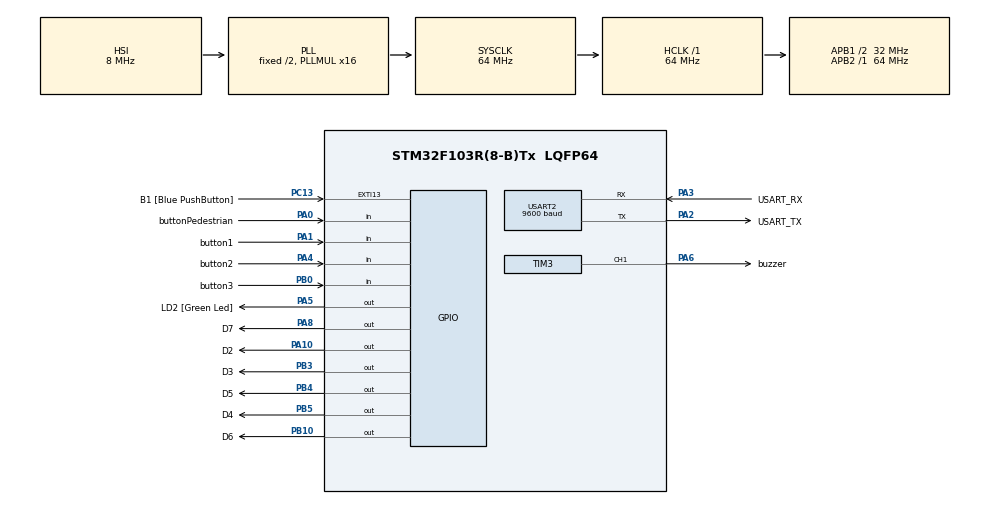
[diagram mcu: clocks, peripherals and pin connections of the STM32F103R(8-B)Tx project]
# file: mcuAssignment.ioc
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Mcu.Family=STM32F1
Mcu.Name=STM32F103R(8-B)Tx
Mcu.Package=LQFP64
NVIC.EXTI15_10_IRQn=true\:0\:0\:false\:false\:true\:true\:true
NVIC.PriorityGroup=NVIC_PRIORITYGROUP_4
NVIC.TIM2_IRQn=true\:0\:0\:false\:false\:true\:true\:true
NVIC.USART2_IRQn=true\:0\:0\:false\:false\:true\:true\:true
PA0-WKUP.GPIO_Label=buttonPedestrian
PA0-WKUP.Signal=GPIO_Input
PA1.GPIO_Label=button1
PA1.GPIO_PuPd=GPIO_PULLUP
PA1.Signal=GPIO_Input
PA10.GPIO_Label=D2
PA10.Signal=GPIO_Output
PA13.GPIO_Label=TMS
PA13.Mode=Serial_Wire
PA13.Signal=SYS_JTMS-SWDIO
PA14.GPIO_Label=TCK
PA14.Mode=Serial_Wire
PA14.Signal=SYS_JTCK-SWCLK
PA2.GPIO_Label=USART_TX
PA2.GPIO_Mode=GPIO_MODE_AF_PP
PA2.GPIO_PuPd=GPIO_NOPULL
PA2.GPIO_Speed=GPIO_SPEED_FREQ_LOW
PA2.Mode=Asynchronous
PA2.Signal=USART2_TX
PA3.GPIO_Label=USART_RX
PA3.GPIO_Mode=GPIO_MODE_AF_PP
PA3.GPIO_PuPd=GPIO_NOPULL
PA3.GPIO_Speed=GPIO_SPEED_FREQ_LOW
PA3.Mode=Asynchronous
PA3.Signal=USART2_RX
PA4.GPIO_Label=button2
PA4.GPIO_PuPd=GPIO_PULLUP
PA4.Signal=GPIO_Input
PA5.GPIO_Label=LD2 [Green Led]
PA5.GPIO_ModeDefaultOutputPP=GPIO_MODE_OUTPUT_PP
PA5.GPIO_PuPd=GPIO_NOPULL
PA5.GPIO_Speed=GPIO_SPEED_FREQ_LOW
PA5.Signal=GPIO_Output
PA6.GPIO_Label=buzzer
PA6.Signal=S_TIM3_CH1
PA8.GPIO_Label=D7
PA8.Signal=GPIO_Output
PB0.GPIO_Label=button3
PB0.GPIO_PuPd=GPIO_PULLUP
PB0.Signal=GPIO_Input
PB10.GPIO_Label=D6
PB10.Signal=GPIO_Output
PB3.GPIO_Label=D3
PB3.Signal=GPIO_Output
PB4.GPIO_Label=D5
PB4.Signal=GPIO_Output
PB5.GPIO_Label=D4
PB5.Signal=GPIO_Output
PC13-TAMPER-RTC.GPIO_Label=B1 [Blue PushButton]
PC13-TAMPER-RTC.GPIO_PuPd=GPIO_NOPULL
PC13-TAMPER-RTC.Signal=GPXTI13
PC14-OSC32_IN.Mode=LSE-External-Oscillator
PC14-OSC32_IN.Signal=RCC_OSC32_IN
PC15-OSC32_OUT.Mode=LSE-External-Oscillator
PC15-OSC32_OUT.Signal=RCC_OSC32_OUT
PD0-OSC_IN.Mode=HSE-External-Clock-Source
PD0-OSC_IN.Signal=RCC_OSC_IN
PD1-OSC_OUT.Mode=HSE-External-Clock-Source
PD1-OSC_OUT.Signal=RCC_OSC_OUT
ProjectManager.HeapSize=0x200
ProjectManager.StackSize=0x400
ProjectManager.TargetToolchain=STM32CubeIDE
RCC.AHBFreq_Value=64000000
RCC.APB1CLKDivider=RCC_HCLK_DIV2
RCC.APB1Freq_Value=32000000
RCC.APB1TimFreq_Value=64000000
RCC.APB2Freq_Value=64000000
RCC.APB2TimFreq_Value=64000000
RCC.HCLKFreq_Value=64000000
RCC.PLLMUL=RCC_PLL_MUL16
RCC.RTCClockSelection=RCC_RTCCLKSOURCE_LSE
RCC.SYSCLKFreq_VALUE=64000000
RCC.SYSCLKSource=RCC_SYSCLKSOURCE_PLLCLK
RCC.USBFreq_Value=64000000
SH.S_TIM3_CH1.0=TIM3_CH1,PWM Generation1 CH1
TIM2.Period=624
TIM2.Prescaler=1023
TIM3.Channel-PWM\ Generation1\ CH1=TIM_CHANNEL_1
TIM3.Period=624
TIM3.Prescaler=1023
USART2.BaudRate=9600
USART2.VirtualMode=VM_ASYNC
VP_TIM2_VS_ClockSourceINT.Mode=Internal
VP_TIM3_VS_ClockSourceINT.Mode=Internal
board=NUCLEO-F103RB

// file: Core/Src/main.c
/* USER CODE BEGIN Header */
/**
  ******************************************************************************
  * @file           : main.c
  * @brief          : Main program body
  ******************************************************************************
  * @attention
  *
  * <h2><center>&copy; Copyright (c) 2023 STMicroelectronics.
  * All rights reserved.</center></h2>
  *
  * This software component is licensed by ST under BSD 3-Clause license,
  * the "License"; You may not use this file except in compliance with the
  * License. You may obtain a copy of the License at:
  *                        opensource.org/licenses/BSD-3-Clause
  *
  ******************************************************************************
  */
/* USER CODE END Header */
#include "main.h"
/* USER CODE BEGIN Includes */

#include "global.h"
#include "fsm_automatic.h"
#include "fsm_manual.h"
#include "scheduler.h"
/* USER CODE END Includes */

TIM_HandleTypeDef htim2;
TIM_HandleTypeDef htim3;

UART_HandleTypeDef huart2;

void SystemClock_Config(void);
static void MX_GPIO_Init(void);
static void MX_USART2_UART_Init(void);
static void MX_TIM2_Init(void);
static void MX_TIM3_Init(void);

void getButton(){
	getKeyInput();
}
void getTimerRun(){
	timerRun();
}
void get_fsm_automatic_run(){
	fsm_automatic_run();
}
void get_fsm_manual_run(){
	fsm_manual_run();
}
void get_fsm_pedestrian(){
	fsm_pedestrian();
}
int main(void)
{
  /* USER CODE BEGIN 1 */
	initStateForButton();
	status = INIT;
  /* USER CODE END 1 */

  /* MCU Configuration--------------------------------------------------------*/

  /* Reset of all peripherals, Initializes the Flash interface and the Systick. */
  HAL_Init();

  /* Configure the system clock */
  SystemClock_Config();

  /* Initialize all configured peripherals */
  MX_GPIO_Init();
  MX_USART2_UART_Init();
  MX_TIM2_Init();
  MX_TIM3_Init();
  /* USER CODE BEGIN 2 */
  HAL_TIM_Base_Start_IT (& htim2 ) ;
  HAL_TIM_PWM_Start(&htim3, TIM_CHANNEL_1);

  SCH_Init();
  SCH_Add_Task(getTimerRun,0, 1);
  SCH_Add_Task(getKeyInput,0, 1);
  SCH_Add_Task(get_fsm_automatic_run, 0,1);
  SCH_Add_Task(get_fsm_manual_run, 0, 1);
  SCH_Add_Task(get_fsm_pedestrian, 0, 1);

  /* USER CODE END 2 */

  /* Infinite loop */
  /* USER CODE BEGIN WHILE */

  while (1)
  {

	  	  SCH_Dispatch_Tasks();
    /* USER CODE END WHILE */

  }
}

void SystemClock_Config(void)
{
  RCC_OscInitTypeDef RCC_OscInitStruct = {0};
  RCC_ClkInitTypeDef RCC_ClkInitStruct = {0};

  /** Initializes the RCC Oscillators according to the specified parameters
  * in the RCC_OscInitTypeDef structure.
  */
  RCC_OscInitStruct.OscillatorType = RCC_OSCILLATORTYPE_HSI;
  RCC_OscInitStruct.HSIState = RCC_HSI_ON;
  RCC_OscInitStruct.HSICalibrationValue = RCC_HSICALIBRATION_DEFAULT;
  RCC_OscInitStruct.PLL.PLLState = RCC_PLL_ON;
  RCC_OscInitStruct.PLL.PLLSource = RCC_PLLSOURCE_HSI_DIV2;
  RCC_OscInitStruct.PLL.PLLMUL = RCC_PLL_MUL16;
  if (HAL_RCC_OscConfig(&RCC_OscInitStruct) != HAL_OK)
  {
    Error_Handler();
  }
  /** Initializes the CPU, AHB and APB buses clocks
  */
  RCC_ClkInitStruct.ClockType = RCC_CLOCKTYPE_HCLK|RCC_CLOCKTYPE_SYSCLK
                              |RCC_CLOCKTYPE_PCLK1|RCC_CLOCKTYPE_PCLK2;
  RCC_ClkInitStruct.SYSCLKSource = RCC_SYSCLKSOURCE_PLLCLK;
  RCC_ClkInitStruct.AHBCLKDivider = RCC_SYSCLK_DIV1;
  RCC_ClkInitStruct.APB1CLKDivider = RCC_HCLK_DIV2;
  RCC_ClkInitStruct.APB2CLKDivider = RCC_HCLK_DIV1;

  if (HAL_RCC_ClockConfig(&RCC_ClkInitStruct, FLASH_LATENCY_2) != HAL_OK)
  {
    Error_Handler();
  }
}

static void MX_TIM2_Init(void)
{

  TIM_ClockConfigTypeDef sClockSourceConfig = {0};
  TIM_MasterConfigTypeDef sMasterConfig = {0};

  htim2.Instance = TIM2;
  htim2.Init.Prescaler = 1023;
  htim2.Init.CounterMode = TIM_COUNTERMODE_UP;
  htim2.Init.Period = 624;
  htim2.Init.ClockDivision = TIM_CLOCKDIVISION_DIV1;
  htim2.Init.AutoReloadPreload = TIM_AUTORELOAD_PRELOAD_DISABLE;
  if (HAL_TIM_Base_Init(&htim2) != HAL_OK)
  {
    Error_Handler();
  }
  sClockSourceConfig.ClockSource = TIM_CLOCKSOURCE_INTERNAL;
  if (HAL_TIM_ConfigClockSource(&htim2, &sClockSourceConfig) != HAL_OK)
  {
    Error_Handler();
  }
  sMasterConfig.MasterOutputTrigger = TIM_TRGO_RESET;
  sMasterConfig.MasterSlaveMode = TIM_MASTERSLAVEMODE_DISABLE;
  if (HAL_TIMEx_MasterConfigSynchronization(&htim2, &sMasterConfig) != HAL_OK)
  {
    Error_Handler();
  }

}

static void MX_TIM3_Init(void)
{

  TIM_ClockConfigTypeDef sClockSourceConfig = {0};
  TIM_MasterConfigTypeDef sMasterConfig = {0};
  TIM_OC_InitTypeDef sConfigOC = {0};

  htim3.Instance = TIM3;
  htim3.Init.Prescaler = 1023;
  htim3.Init.CounterMode = TIM_COUNTERMODE_UP;
  htim3.Init.Period = 624;
  htim3.Init.ClockDivision = TIM_CLOCKDIVISION_DIV1;
  htim3.Init.AutoReloadPreload = TIM_AUTORELOAD_PRELOAD_DISABLE;
  if (HAL_TIM_Base_Init(&htim3) != HAL_OK)
  {
    Error_Handler();
  }
  sClockSourceConfig.ClockSource = TIM_CLOCKSOURCE_INTERNAL;
  if (HAL_TIM_ConfigClockSource(&htim3, &sClockSourceConfig) != HAL_OK)
  {
    Error_Handler();
  }
  if (HAL_TIM_PWM_Init(&htim3) != HAL_OK)
  {
    Error_Handler();
  }
  sMasterConfig.MasterOutputTrigger = TIM_TRGO_RESET;
  sMasterConfig.MasterSlaveMode = TIM_MASTERSLAVEMODE_DISABLE;
  if (HAL_TIMEx_MasterConfigSynchronization(&htim3, &sMasterConfig) != HAL_OK)
  {
    Error_Handler();
  }
  sConfigOC.OCMode = TIM_OCMODE_PWM1;
  sConfigOC.Pulse = 0;
  sConfigOC.OCPolarity = TIM_OCPOLARITY_HIGH;
  sConfigOC.OCFastMode = TIM_OCFAST_DISABLE;
  if (HAL_TIM_PWM_ConfigChannel(&htim3, &sConfigOC, TIM_CHANNEL_1) != HAL_OK)
  {
    Error_Handler();
  }
  HAL_TIM_MspPostInit(&htim3);

}

static void MX_USART2_UART_Init(void)
{

  huart2.Instance = USART2;
  huart2.Init.BaudRate = 9600;
  huart2.Init.WordLength = UART_WORDLENGTH_8B;
  huart2.Init.StopBits = UART_STOPBITS_1;
  huart2.Init.Parity = UART_PARITY_NONE;
  huart2.Init.Mode = UART_MODE_TX_RX;
  huart2.Init.HwFlowCtl = UART_HWCONTROL_NONE;
  huart2.Init.OverSampling = UART_OVERSAMPLING_16;
  if (HAL_UART_Init(&huart2) != HAL_OK)
  {
    Error_Handler();
  }

}

static void MX_GPIO_Init(void)
{
  GPIO_InitTypeDef GPIO_InitStruct = {0};

  /* GPIO Ports Clock Enable */
  __HAL_RCC_GPIOC_CLK_ENABLE();
  __HAL_RCC_GPIOD_CLK_ENABLE();
  __HAL_RCC_GPIOA_CLK_ENABLE();
  __HAL_RCC_GPIOB_CLK_ENABLE();

  /*Configure GPIO pin Output Level */
  HAL_GPIO_WritePin(GPIOA, LD2_Pin|D7_Pin|D2_Pin, GPIO_PIN_RESET);

  /*Configure GPIO pin Output Level */
  HAL_GPIO_WritePin(GPIOB, D6_Pin|D3_Pin|D5_Pin|D4_Pin, GPIO_PIN_RESET);

  /*Configure GPIO pin : B1_Pin */
  GPIO_InitStruct.Pin = B1_Pin;
  GPIO_InitStruct.Mode = GPIO_MODE_IT_RISING;
  GPIO_InitStruct.Pull = GPIO_NOPULL;
  HAL_GPIO_Init(B1_GPIO_Port, &GPIO_InitStruct);

  /*Configure GPIO pin : buttonPedestrian_Pin */
  GPIO_InitStruct.Pin = buttonPedestrian_Pin;
  GPIO_InitStruct.Mode = GPIO_MODE_INPUT;
  GPIO_InitStruct.Pull = GPIO_NOPULL;
  HAL_GPIO_Init(buttonPedestrian_GPIO_Port, &GPIO_InitStruct);

  /*Configure GPIO pins : button1_Pin button2_Pin */
  GPIO_InitStruct.Pin = button1_Pin|button2_Pin;
  GPIO_InitStruct.Mode = GPIO_MODE_INPUT;
  GPIO_InitStruct.Pull = GPIO_PULLUP;
  HAL_GPIO_Init(GPIOA, &GPIO_InitStruct);

  /*Configure GPIO pins : LD2_Pin D7_Pin D2_Pin */
  GPIO_InitStruct.Pin = LD2_Pin|D7_Pin|D2_Pin;
  GPIO_InitStruct.Mode = GPIO_MODE_OUTPUT_PP;
  GPIO_InitStruct.Pull = GPIO_NOPULL;
  GPIO_InitStruct.Speed = GPIO_SPEED_FREQ_LOW;
  HAL_GPIO_Init(GPIOA, &GPIO_InitStruct);

  /*Configure GPIO pin : button3_Pin */
  GPIO_InitStruct.Pin = button3_Pin;
  GPIO_InitStruct.Mode = GPIO_MODE_INPUT;
  GPIO_InitStruct.Pull = GPIO_PULLUP;
  HAL_GPIO_Init(button3_GPIO_Port, &GPIO_InitStruct);

  /*Configure GPIO pins : D6_Pin D3_Pin D5_Pin D4_Pin */
  GPIO_InitStruct.Pin = D6_Pin|D3_Pin|D5_Pin|D4_Pin;
  GPIO_InitStruct.Mode = GPIO_MODE_OUTPUT_PP;
  GPIO_InitStruct.Pull = GPIO_NOPULL;
  GPIO_InitStruct.Speed = GPIO_SPEED_FREQ_LOW;
  HAL_GPIO_Init(GPIOB, &GPIO_InitStruct);

  /* EXTI interrupt init*/
  HAL_NVIC_SetPriority(EXTI15_10_IRQn, 0, 0);
  HAL_NVIC_EnableIRQ(EXTI15_10_IRQn);

}

/* USER CODE BEGIN 4 */

 void HAL_TIM_PeriodElapsedCallback ( TIM_HandleTypeDef * htim ){
	 SCH_Update();
}
/* USER CODE END 4 */

void Error_Handler(void)
{
  __disable_irq();
  while (1)
  {
  }
}

/************************ (C) COPYRIGHT STMicroelectronics *****END OF FILE****/
